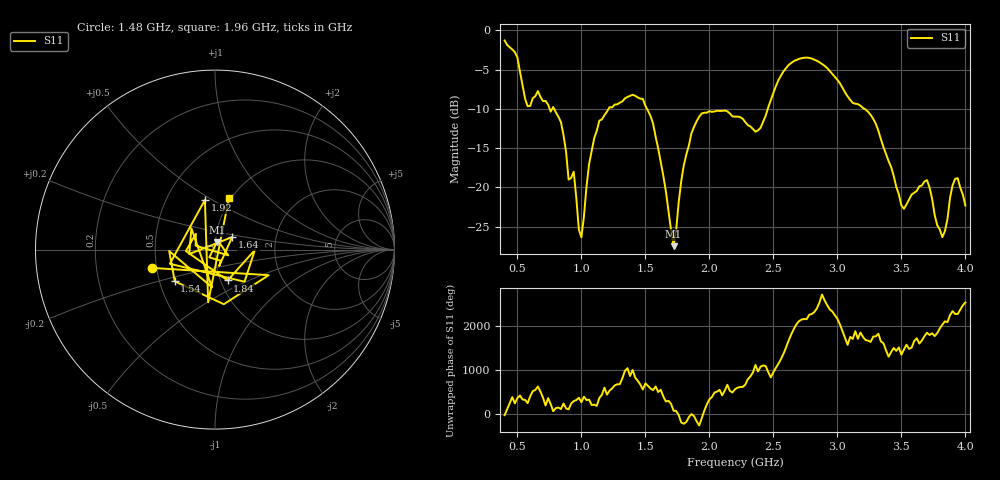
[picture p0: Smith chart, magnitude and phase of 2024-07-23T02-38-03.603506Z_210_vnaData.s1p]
!Created with skrf (http://scikit-rf.org).
# Hz S RI R 50.0
!freq ReS11 ImS11
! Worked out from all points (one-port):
!   181 points, 400 MHz to 4 GHz, reference 50 ohm
!   lowest |S11| = -27.5 dB at 1.72 GHz (marker M1), VSWR 1.09, Z = 50.9 + j4.18 ohm
!   |S11| at or under -10 dB: 787.6 MHz to 1.212 GHz (424.2 MHz wide, 42.4 % of centre); 1.513 GHz to 2.456 GHz (942.8 MHz wide, 47.5 % of centre); 3.213 GHz to end of sweep (the widest 3 of 4)
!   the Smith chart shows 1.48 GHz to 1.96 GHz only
!   S11 on the Smith chart (normalised r, x): 1.48 GHz: 0.47, -0.11; 1.54 GHz: 0.60, -0.23; 1.64 GHz: 1.20, +0.17; 1.84 GHz: 1.08, -0.38; 1.92 GHz: 0.77, +0.46; 1.96 GHz: 0.98, +0.62
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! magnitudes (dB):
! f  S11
! 400 MHz  -1.3
! 580 MHz  -9.6
! 660 MHz  -7.7
! 860 MHz  -13.3
! 900 MHz  -19.0
! 940 MHz  -18.0
! 1 GHz  -26.4
! 1.1 GHz  -13.7
! 1.3 GHz  -9.2
! 1.48 GHz  -8.7
! 1.54 GHz  -10.9
! 1.64 GHz  -18.5
! 1.72 GHz  -27.5
! 1.76 GHz  -21.9
! 1.84 GHz  -14.6
! 1.92 GHz  -11.0
! 1.96 GHz  -10.5
! 2.2 GHz  -11.0
! 2.38 GHz  -12.7
! 2.66 GHz  -3.9
! 3.1 GHz  -8.8
! 3.28 GHz  -11.3
! 3.5 GHz  -22.3
! 3.56 GHz  -21.5
! 3.7 GHz  -19.1
! 3.82 GHz  -26.3
! 3.92 GHz  -18.9
! 4 GHz  -22.3
